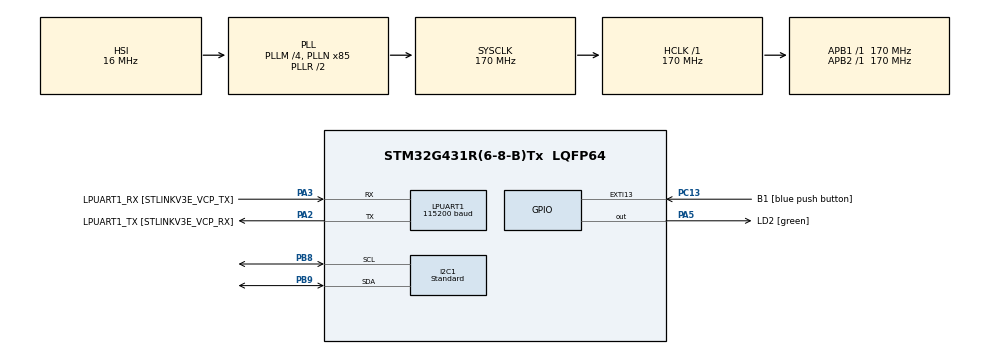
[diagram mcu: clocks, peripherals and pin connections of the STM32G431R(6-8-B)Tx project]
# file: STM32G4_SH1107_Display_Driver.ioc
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I2C1.I2C_Speed_Mode=I2C_Standard
I2C1.Timing=0x30A0A7FB
LPUART1.BaudRate=115200
LPUART1.WordLength=UART_WORDLENGTH_8B
Mcu.Family=STM32G4
Mcu.Name=STM32G431R(6-8-B)Tx
Mcu.Package=LQFP64
NVIC.PriorityGroup=NVIC_PRIORITYGROUP_4
PA13.GPIO_Label=T_SWDIO
PA13.Mode=Serial_Wire
PA13.Signal=SYS_JTMS-SWDIO
PA14.GPIO_Label=T_SWCLK
PA14.Mode=Serial_Wire
PA14.Signal=SYS_JTCK-SWCLK
PA2.GPIO_Label=LPUART1_TX [STLINKV3E_VCP_RX]
PA2.Mode=Asynchronous
PA2.Signal=LPUART1_TX
PA3.GPIO_Label=LPUART1_RX [STLINKV3E_VCP_TX]
PA3.Mode=Asynchronous
PA3.Signal=LPUART1_RX
PA5.GPIO_Label=LD2 [green]
PA5.Signal=GPIO_Output
PB3.GPIO_Label=T_SWO
PB3.Signal=SYS_JTDO-SWO
PB8-BOOT0.GPIO_Mode=GPIO_MODE_AF_OD
PB8-BOOT0.GPIO_Pu=GPIO_PULLUP
PB8-BOOT0.Mode=I2C
PB8-BOOT0.Signal=I2C1_SCL
PB9.GPIO_Pu=GPIO_PULLUP
PB9.Mode=I2C
PB9.Signal=I2C1_SDA
PC13.GPIO_Label=B1 [blue push button]
PC13.Signal=GPXTI13
PC14-OSC32_IN.Mode=LSE-External-Oscillator
PC14-OSC32_IN.Signal=RCC_OSC32_IN
PC15-OSC32_OUT.Mode=LSE-External-Oscillator
PC15-OSC32_OUT.Signal=RCC_OSC32_OUT
PF0-OSC_IN.Mode=HSE-External-Oscillator
PF0-OSC_IN.Signal=RCC_OSC_IN
PF1-OSC_OUT.Mode=HSE-External-Oscillator
PF1-OSC_OUT.Signal=RCC_OSC_OUT
ProjectManager.HeapSize=0x200
ProjectManager.StackSize=0x400
ProjectManager.TargetToolchain=STM32CubeIDE
RCC.ADC12Freq_Value=170000000
RCC.AHBFreq_Value=170000000
RCC.APB1Freq_Value=170000000
RCC.APB1TimFreq_Value=170000000
RCC.APB2Freq_Value=170000000
RCC.APB2TimFreq_Value=170000000
RCC.CortexFreq_Value=170000000
RCC.EXTERNAL_CLOCK_VALUE=12288000
RCC.HCLKFreq_Value=170000000
RCC.HSE_VALUE=24000000
RCC.HSI48_VALUE=48000000
RCC.HSI_VALUE=16000000
RCC.PLLM=RCC_PLLM_DIV4
RCC.PLLN=85
RCC.RTCClockSelection=RCC_RTCCLKSOURCE_LSE
RCC.SYSCLKFreq_VALUE=170000000
RCC.SYSCLKSource=RCC_SYSCLKSOURCE_PLLCLK
RCC.USBFreq_Value=170000000
RCC.VCOOutputFreq_Value=340000000
VP_SYS_VS_DBSignals.Mode=DisableDeadBatterySignals
board=NUCLEO-G431RB

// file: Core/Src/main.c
/* USER CODE BEGIN Header */
/**
  ******************************************************************************
  * @file           : main.c
  * @brief          : Main program body
  ******************************************************************************
  * @attention
  *
  * Copyright (c) 2026 STMicroelectronics.
  * All rights reserved.
  *
  * This software is licensed under terms that can be found in the LICENSE file
  * in the root directory of this software component.
  * If no LICENSE file comes with this software, it is provided AS-IS.
  *
  ******************************************************************************
  */
/* USER CODE END Header */
#include "main.h"

/* USER CODE BEGIN Includes */
#include "SH1107.h"

/* USER CODE END Includes */

I2C_HandleTypeDef hi2c1;

UART_HandleTypeDef hlpuart1;

void SystemClock_Config(void);
static void MX_GPIO_Init(void);
static void MX_LPUART1_UART_Init(void);
static void MX_I2C1_Init(void);

int main(void)
{

  /* MCU Configuration--------------------------------------------------------*/

  /* Reset of all peripherals, Initializes the Flash interface and the Systick. */
  HAL_Init();

  /* Configure the system clock */
  SystemClock_Config();

  /* Initialize all configured peripherals */
  MX_GPIO_Init();
  MX_LPUART1_UART_Init();
  MX_I2C1_Init();
  /* USER CODE BEGIN 2 */
  HAL_Delay(500);         // Ekranın enerjisinin oturması için bekleme
  SH1107_Init();          // Ekran donanımını ilklendir
  SH1107_ClearBuffer();   // RAM buffer'ı sıfırla
  SH1107_Update();        // Boş buffer'ı ekrana gönder (Ekranı temizle)
  /* USER CODE END 2 */

  /* Infinite loop */
  /* USER CODE BEGIN WHILE */
  while (1)
  {
    // --- TEST 1: Videodaki Kayan Çizgi Animasyonu ---
    for(int16_t i = 0; i < 128; i += 4) {
        SH1107_ClearBuffer();
        SH1107_DrawLine(0, 0, i, 127, 1); // Çizgileri buffer'a çiz
        SH1107_Update();                  // Ekranı güncelle
        HAL_Delay(15);
    }
    HAL_Delay(300);

    // --- TEST 2: İç İçe Büyüyen Dikdörtgenler (Kareler) ---
    SH1107_ClearBuffer();
    for(int16_t i = 0; i < 64; i += 8) {
        SH1107_DrawRect(i, i, 128 - (2*i), 128 - (2*i), 1);
        SH1107_Update();
        HAL_Delay(150);
    }
    HAL_Delay(1000);

    // Durum kontrolü için NUCLEO üzerindeki yeşil LED'i de yakıp söndürelim
    HAL_GPIO_TogglePin(GPIOA, GPIO_PIN_5);
    /* USER CODE END WHILE */

  }
}

void SystemClock_Config(void)
{
  RCC_OscInitTypeDef RCC_OscInitStruct = {0};
  RCC_ClkInitTypeDef RCC_ClkInitStruct = {0};

  /** Configure the main internal regulator output voltage
  */
  HAL_PWREx_ControlVoltageScaling(PWR_REGULATOR_VOLTAGE_SCALE1_BOOST);

  /** Initializes the RCC Oscillators according to the specified parameters
  * in the RCC_OscInitTypeDef structure.
  */
  RCC_OscInitStruct.OscillatorType = RCC_OSCILLATORTYPE_HSI;
  RCC_OscInitStruct.HSIState = RCC_HSI_ON;
  RCC_OscInitStruct.HSICalibrationValue = RCC_HSICALIBRATION_DEFAULT;
  RCC_OscInitStruct.PLL.PLLState = RCC_PLL_ON;
  RCC_OscInitStruct.PLL.PLLSource = RCC_PLLSOURCE_HSI;
  RCC_OscInitStruct.PLL.PLLM = RCC_PLLM_DIV4;
  RCC_OscInitStruct.PLL.PLLN = 85;
  RCC_OscInitStruct.PLL.PLLP = RCC_PLLP_DIV2;
  RCC_OscInitStruct.PLL.PLLQ = RCC_PLLQ_DIV2;
  RCC_OscInitStruct.PLL.PLLR = RCC_PLLR_DIV2;
  if (HAL_RCC_OscConfig(&RCC_OscInitStruct) != HAL_OK)
  {
    Error_Handler();
  }

  /** Initializes the CPU, AHB and APB buses clocks
  */
  RCC_ClkInitStruct.ClockType = RCC_CLOCKTYPE_HCLK|RCC_CLOCKTYPE_SYSCLK
                              |RCC_CLOCKTYPE_PCLK1|RCC_CLOCKTYPE_PCLK2;
  RCC_ClkInitStruct.SYSCLKSource = RCC_SYSCLKSOURCE_PLLCLK;
  RCC_ClkInitStruct.AHBCLKDivider = RCC_SYSCLK_DIV1;
  RCC_ClkInitStruct.APB1CLKDivider = RCC_HCLK_DIV1;
  RCC_ClkInitStruct.APB2CLKDivider = RCC_HCLK_DIV1;

  if (HAL_RCC_ClockConfig(&RCC_ClkInitStruct, FLASH_LATENCY_4) != HAL_OK)
  {
    Error_Handler();
  }
}

static void MX_I2C1_Init(void)
{

  hi2c1.Instance = I2C1;
  hi2c1.Init.Timing = 0x30A0A7FB;
  hi2c1.Init.OwnAddress1 = 0;
  hi2c1.Init.AddressingMode = I2C_ADDRESSINGMODE_7BIT;
  hi2c1.Init.DualAddressMode = I2C_DUALADDRESS_DISABLE;
  hi2c1.Init.OwnAddress2 = 0;
  hi2c1.Init.OwnAddress2Masks = I2C_OA2_NOMASK;
  hi2c1.Init.GeneralCallMode = I2C_GENERALCALL_DISABLE;
  hi2c1.Init.NoStretchMode = I2C_NOSTRETCH_DISABLE;
  if (HAL_I2C_Init(&hi2c1) != HAL_OK)
  {
    Error_Handler();
  }

  /** Configure Analogue filter
  */
  if (HAL_I2CEx_ConfigAnalogFilter(&hi2c1, I2C_ANALOGFILTER_ENABLE) != HAL_OK)
  {
    Error_Handler();
  }

  /** Configure Digital filter
  */
  if (HAL_I2CEx_ConfigDigitalFilter(&hi2c1, 0) != HAL_OK)
  {
    Error_Handler();
  }

}

static void MX_LPUART1_UART_Init(void)
{

  hlpuart1.Instance = LPUART1;
  hlpuart1.Init.BaudRate = 115200;
  hlpuart1.Init.WordLength = UART_WORDLENGTH_8B;
  hlpuart1.Init.StopBits = UART_STOPBITS_1;
  hlpuart1.Init.Parity = UART_PARITY_NONE;
  hlpuart1.Init.Mode = UART_MODE_TX_RX;
  hlpuart1.Init.HwFlowCtl = UART_HWCONTROL_NONE;
  hlpuart1.Init.OneBitSampling = UART_ONE_BIT_SAMPLE_DISABLE;
  hlpuart1.Init.ClockPrescaler = UART_PRESCALER_DIV1;
  hlpuart1.AdvancedInit.AdvFeatureInit = UART_ADVFEATURE_NO_INIT;
  if (HAL_UART_Init(&hlpuart1) != HAL_OK)
  {
    Error_Handler();
  }
  if (HAL_UARTEx_SetTxFifoThreshold(&hlpuart1, UART_TXFIFO_THRESHOLD_1_8) != HAL_OK)
  {
    Error_Handler();
  }
  if (HAL_UARTEx_SetRxFifoThreshold(&hlpuart1, UART_RXFIFO_THRESHOLD_1_8) != HAL_OK)
  {
    Error_Handler();
  }
  if (HAL_UARTEx_DisableFifoMode(&hlpuart1) != HAL_OK)
  {
    Error_Handler();
  }

}

static void MX_GPIO_Init(void)
{
  GPIO_InitTypeDef GPIO_InitStruct = {0};

  /* GPIO Ports Clock Enable */
  __HAL_RCC_GPIOC_CLK_ENABLE();
  __HAL_RCC_GPIOF_CLK_ENABLE();
  __HAL_RCC_GPIOA_CLK_ENABLE();
  __HAL_RCC_GPIOB_CLK_ENABLE();

  /*Configure GPIO pin Output Level */
  HAL_GPIO_WritePin(LD2_GPIO_Port, LD2_Pin, GPIO_PIN_RESET);

  /*Configure GPIO pin : B1_Pin */
  GPIO_InitStruct.Pin = B1_Pin;
  GPIO_InitStruct.Mode = GPIO_MODE_IT_RISING;
  GPIO_InitStruct.Pull = GPIO_NOPULL;
  HAL_GPIO_Init(B1_GPIO_Port, &GPIO_InitStruct);

  /*Configure GPIO pin : LD2_Pin */
  GPIO_InitStruct.Pin = LD2_Pin;
  GPIO_InitStruct.Mode = GPIO_MODE_OUTPUT_PP;
  GPIO_InitStruct.Pull = GPIO_NOPULL;
  GPIO_InitStruct.Speed = GPIO_SPEED_FREQ_LOW;
  HAL_GPIO_Init(LD2_GPIO_Port, &GPIO_InitStruct);

}

void Error_Handler(void)
{
  __disable_irq();
  while (1)
  {
  }
}
